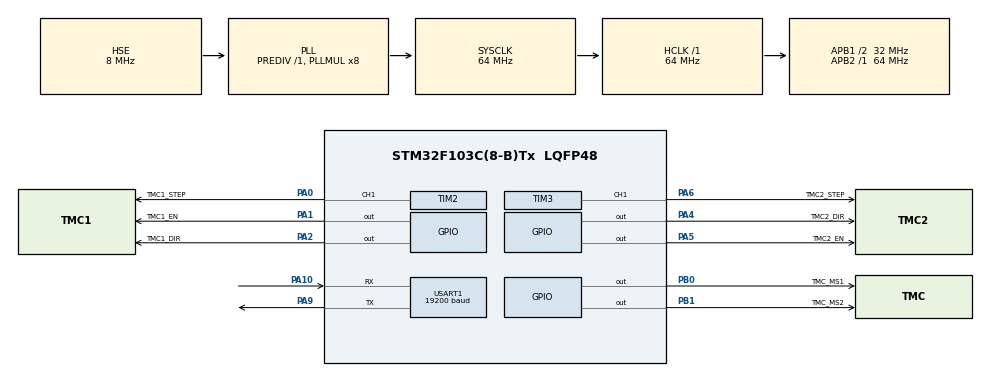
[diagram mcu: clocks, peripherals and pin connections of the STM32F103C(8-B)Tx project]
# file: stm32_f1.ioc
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Mcu.Family=STM32F1
Mcu.Name=STM32F103C(8-B)Tx
Mcu.Package=LQFP48
NVIC.PriorityGroup=NVIC_PRIORITYGROUP_4
NVIC.TIM2_IRQn=true\:0\:0\:false\:false\:true\:true\:true\:true
NVIC.TIM3_IRQn=true\:0\:0\:false\:false\:true\:true\:true\:true
PA0-WKUP.GPIO_Label=TMC1_STEP
PA0-WKUP.Signal=S_TIM2_CH1_ETR
PA1.GPIO_Label=TMC1_EN
PA1.Signal=GPIO_Output
PA10.Mode=Asynchronous
PA10.Signal=USART1_RX
PA13.Mode=Serial_Wire
PA13.Signal=SYS_JTMS-SWDIO
PA14.Mode=Serial_Wire
PA14.Signal=SYS_JTCK-SWCLK
PA2.GPIO_Label=TMC1_DIR
PA2.Signal=GPIO_Output
PA4.GPIO_Label=TMC2_DIR
PA4.Signal=GPIO_Output
PA5.GPIO_Label=TMC2_EN
PA5.Signal=GPIO_Output
PA6.GPIO_Label=TMC2_STEP
PA6.Signal=S_TIM3_CH1
PA9.Mode=Asynchronous
PA9.Signal=USART1_TX
PB0.GPIO_Label=TMC_MS1
PB0.Signal=GPIO_Output
PB1.GPIO_Label=TMC_MS2
PB1.Signal=GPIO_Output
PD0-OSC_IN.Mode=HSE-External-Oscillator
PD0-OSC_IN.Signal=RCC_OSC_IN
PD1-OSC_OUT.Mode=HSE-External-Oscillator
PD1-OSC_OUT.Signal=RCC_OSC_OUT
ProjectManager.HeapSize=0x200
ProjectManager.StackSize=0x400
ProjectManager.TargetToolchain=STM32CubeIDE
RCC.AHBFreq_Value=64000000
RCC.APB1CLKDivider=RCC_HCLK_DIV2
RCC.APB1Freq_Value=32000000
RCC.APB1TimFreq_Value=64000000
RCC.APB2Freq_Value=64000000
RCC.APB2TimFreq_Value=64000000
RCC.HCLKFreq_Value=64000000
RCC.PLLMUL=RCC_PLL_MUL8
RCC.PLLSourceVirtual=RCC_PLLSOURCE_HSE
RCC.SYSCLKFreq_VALUE=64000000
RCC.SYSCLKSource=RCC_SYSCLKSOURCE_PLLCLK
RCC.USBFreq_Value=64000000
SH.S_TIM2_CH1_ETR.0=TIM2_CH1,PWM Generation1 CH1
SH.S_TIM3_CH1.0=TIM3_CH1,PWM Generation1 CH1
TIM2.Channel-PWM\ Generation1\ CH1=TIM_CHANNEL_1
TIM2.Pulse-PWM\ Generation1\ CH1=1000
TIM3.Channel-PWM\ Generation1\ CH1=TIM_CHANNEL_1
USART1.BaudRate=19200
USART1.VirtualMode=VM_ASYNC
VP_TIM2_VS_ClockSourceINT.Mode=Internal
VP_TIM3_VS_ClockSourceINT.Mode=Internal
board=custom

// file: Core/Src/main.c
/* USER CODE BEGIN Header */
/**
  ******************************************************************************
  * @file           : main.c
  * @brief          : Main program body
  ******************************************************************************
  * @attention
  *
  * Copyright (c) 2025 STMicroelectronics.
  * All rights reserved.
  *
  * This software is licensed under terms that can be found in the LICENSE file
  * in the root directory of this software component.
  * If no LICENSE file comes with this software, it is provided AS-IS.
  *
  ******************************************************************************
  */
/* USER CODE END Header */
#include "main.h"

/* USER CODE BEGIN Includes */
#include "tmc2209_driver.h"
/* USER CODE END Includes */

TIM_HandleTypeDef htim2;
TIM_HandleTypeDef htim3;

UART_HandleTypeDef huart1;

void SystemClock_Config(void);
static void MX_GPIO_Init(void);
static void MX_TIM2_Init(void);
static void MX_USART1_UART_Init(void);
static void MX_TIM3_Init(void);

/* USER CODE BEGIN 0 */
void swuart_calcCRC(uint8_t* datagram, uint8_t datagramLength)
{
  int i,j;
  uint8_t* crc = datagram + (datagramLength-1); // CRC located in last byte of message
  uint8_t currentByte;
  *crc = 0;
  for (i=0; i<(datagramLength-1); i++) { // Execute for all bytes of a message
    currentByte = datagram[i]; // Retrieve a byte to be sent from Array
    for (j=0; j<8; j++) {
      if ((*crc >> 7) ^ (currentByte&0x01)) // update CRC based result of XOR operation
      {
        *crc = (*crc << 1) ^ 0x07;
      }
      else
      {
        *crc = (*crc << 1);
      }
      currentByte = currentByte >> 1;
    } // for CRC bit
  } // for message byte
}
/* USER CODE END 0 */

int main(void)
{

  /* MCU Configuration--------------------------------------------------------*/

  /* Reset of all peripherals, Initializes the Flash interface and the Systick. */
  HAL_Init();

  /* Configure the system clock */
  SystemClock_Config();

  /* Initialize all configured peripherals */
  MX_GPIO_Init();
  MX_TIM2_Init();
  MX_USART1_UART_Init();
  MX_TIM3_Init();
  /* USER CODE BEGIN 2 */
  //HAL_TIM_Base_Start_IT(&htim2);
  //HAL_TIM_PWM_Start(&htim2, TIM_CHANNEL_1);
  //while (1);
  tmc_example();
  /* USER CODE END 2 */

  /* Infinite loop */
  while (1)
  {

  }
}

void SystemClock_Config(void)
{
  RCC_OscInitTypeDef RCC_OscInitStruct = {0};
  RCC_ClkInitTypeDef RCC_ClkInitStruct = {0};

  /** Initializes the RCC Oscillators according to the specified parameters
  * in the RCC_OscInitTypeDef structure.
  */
  RCC_OscInitStruct.OscillatorType = RCC_OSCILLATORTYPE_HSE;
  RCC_OscInitStruct.HSEState = RCC_HSE_ON;
  RCC_OscInitStruct.HSEPredivValue = RCC_HSE_PREDIV_DIV1;
  RCC_OscInitStruct.HSIState = RCC_HSI_ON;
  RCC_OscInitStruct.PLL.PLLState = RCC_PLL_ON;
  RCC_OscInitStruct.PLL.PLLSource = RCC_PLLSOURCE_HSE;
  RCC_OscInitStruct.PLL.PLLMUL = RCC_PLL_MUL8;
  if (HAL_RCC_OscConfig(&RCC_OscInitStruct) != HAL_OK)
  {
    Error_Handler();
  }

  /** Initializes the CPU, AHB and APB buses clocks
  */
  RCC_ClkInitStruct.ClockType = RCC_CLOCKTYPE_HCLK|RCC_CLOCKTYPE_SYSCLK
                              |RCC_CLOCKTYPE_PCLK1|RCC_CLOCKTYPE_PCLK2;
  RCC_ClkInitStruct.SYSCLKSource = RCC_SYSCLKSOURCE_PLLCLK;
  RCC_ClkInitStruct.AHBCLKDivider = RCC_SYSCLK_DIV1;
  RCC_ClkInitStruct.APB1CLKDivider = RCC_HCLK_DIV2;
  RCC_ClkInitStruct.APB2CLKDivider = RCC_HCLK_DIV1;

  if (HAL_RCC_ClockConfig(&RCC_ClkInitStruct, FLASH_LATENCY_2) != HAL_OK)
  {
    Error_Handler();
  }
}

static void MX_TIM2_Init(void)
{

  TIM_ClockConfigTypeDef sClockSourceConfig = {0};
  TIM_MasterConfigTypeDef sMasterConfig = {0};
  TIM_OC_InitTypeDef sConfigOC = {0};

  htim2.Instance = TIM2;
  htim2.Init.Prescaler = 0;
  htim2.Init.CounterMode = TIM_COUNTERMODE_UP;
  htim2.Init.Period = 65535;
  htim2.Init.ClockDivision = TIM_CLOCKDIVISION_DIV1;
  htim2.Init.AutoReloadPreload = TIM_AUTORELOAD_PRELOAD_DISABLE;
  if (HAL_TIM_Base_Init(&htim2) != HAL_OK)
  {
    Error_Handler();
  }
  sClockSourceConfig.ClockSource = TIM_CLOCKSOURCE_INTERNAL;
  if (HAL_TIM_ConfigClockSource(&htim2, &sClockSourceConfig) != HAL_OK)
  {
    Error_Handler();
  }
  if (HAL_TIM_PWM_Init(&htim2) != HAL_OK)
  {
    Error_Handler();
  }
  sMasterConfig.MasterOutputTrigger = TIM_TRGO_RESET;
  sMasterConfig.MasterSlaveMode = TIM_MASTERSLAVEMODE_DISABLE;
  if (HAL_TIMEx_MasterConfigSynchronization(&htim2, &sMasterConfig) != HAL_OK)
  {
    Error_Handler();
  }
  sConfigOC.OCMode = TIM_OCMODE_PWM1;
  sConfigOC.Pulse = 1000;
  sConfigOC.OCPolarity = TIM_OCPOLARITY_HIGH;
  sConfigOC.OCFastMode = TIM_OCFAST_DISABLE;
  if (HAL_TIM_PWM_ConfigChannel(&htim2, &sConfigOC, TIM_CHANNEL_1) != HAL_OK)
  {
    Error_Handler();
  }
  HAL_TIM_MspPostInit(&htim2);

}

static void MX_TIM3_Init(void)
{

  TIM_ClockConfigTypeDef sClockSourceConfig = {0};
  TIM_MasterConfigTypeDef sMasterConfig = {0};
  TIM_OC_InitTypeDef sConfigOC = {0};

  htim3.Instance = TIM3;
  htim3.Init.Prescaler = 0;
  htim3.Init.CounterMode = TIM_COUNTERMODE_UP;
  htim3.Init.Period = 65535;
  htim3.Init.ClockDivision = TIM_CLOCKDIVISION_DIV1;
  htim3.Init.AutoReloadPreload = TIM_AUTORELOAD_PRELOAD_DISABLE;
  if (HAL_TIM_Base_Init(&htim3) != HAL_OK)
  {
    Error_Handler();
  }
  sClockSourceConfig.ClockSource = TIM_CLOCKSOURCE_INTERNAL;
  if (HAL_TIM_ConfigClockSource(&htim3, &sClockSourceConfig) != HAL_OK)
  {
    Error_Handler();
  }
  if (HAL_TIM_PWM_Init(&htim3) != HAL_OK)
  {
    Error_Handler();
  }
  sMasterConfig.MasterOutputTrigger = TIM_TRGO_RESET;
  sMasterConfig.MasterSlaveMode = TIM_MASTERSLAVEMODE_DISABLE;
  if (HAL_TIMEx_MasterConfigSynchronization(&htim3, &sMasterConfig) != HAL_OK)
  {
    Error_Handler();
  }
  sConfigOC.OCMode = TIM_OCMODE_PWM1;
  sConfigOC.Pulse = 0;
  sConfigOC.OCPolarity = TIM_OCPOLARITY_HIGH;
  sConfigOC.OCFastMode = TIM_OCFAST_DISABLE;
  if (HAL_TIM_PWM_ConfigChannel(&htim3, &sConfigOC, TIM_CHANNEL_1) != HAL_OK)
  {
    Error_Handler();
  }
  HAL_TIM_MspPostInit(&htim3);

}

static void MX_USART1_UART_Init(void)
{

  huart1.Instance = USART1;
  huart1.Init.BaudRate = 19200;
  huart1.Init.WordLength = UART_WORDLENGTH_8B;
  huart1.Init.StopBits = UART_STOPBITS_1;
  huart1.Init.Parity = UART_PARITY_NONE;
  huart1.Init.Mode = UART_MODE_TX_RX;
  huart1.Init.HwFlowCtl = UART_HWCONTROL_NONE;
  huart1.Init.OverSampling = UART_OVERSAMPLING_16;
  if (HAL_UART_Init(&huart1) != HAL_OK)
  {
    Error_Handler();
  }

}

static void MX_GPIO_Init(void)
{
  GPIO_InitTypeDef GPIO_InitStruct = {0};

  /* GPIO Ports Clock Enable */
  __HAL_RCC_GPIOD_CLK_ENABLE();
  __HAL_RCC_GPIOA_CLK_ENABLE();
  __HAL_RCC_GPIOB_CLK_ENABLE();

  /*Configure GPIO pin Output Level */
  HAL_GPIO_WritePin(GPIOA, TMC1_EN_Pin|TMC1_DIR_Pin|TMC2_DIR_Pin|TMC2_EN_Pin, GPIO_PIN_RESET);

  /*Configure GPIO pin Output Level */
  HAL_GPIO_WritePin(GPIOB, TMC_MS1_Pin|TMC_MS2_Pin, GPIO_PIN_RESET);

  /*Configure GPIO pins : TMC1_EN_Pin TMC1_DIR_Pin TMC2_DIR_Pin TMC2_EN_Pin */
  GPIO_InitStruct.Pin = TMC1_EN_Pin|TMC1_DIR_Pin|TMC2_DIR_Pin|TMC2_EN_Pin;
  GPIO_InitStruct.Mode = GPIO_MODE_OUTPUT_PP;
  GPIO_InitStruct.Pull = GPIO_NOPULL;
  GPIO_InitStruct.Speed = GPIO_SPEED_FREQ_LOW;
  HAL_GPIO_Init(GPIOA, &GPIO_InitStruct);

  /*Configure GPIO pins : TMC_MS1_Pin TMC_MS2_Pin */
  GPIO_InitStruct.Pin = TMC_MS1_Pin|TMC_MS2_Pin;
  GPIO_InitStruct.Mode = GPIO_MODE_OUTPUT_PP;
  GPIO_InitStruct.Pull = GPIO_NOPULL;
  GPIO_InitStruct.Speed = GPIO_SPEED_FREQ_LOW;
  HAL_GPIO_Init(GPIOB, &GPIO_InitStruct);

}

void Error_Handler(void)
{
  __disable_irq();
  while (1)
  {
  }
}
